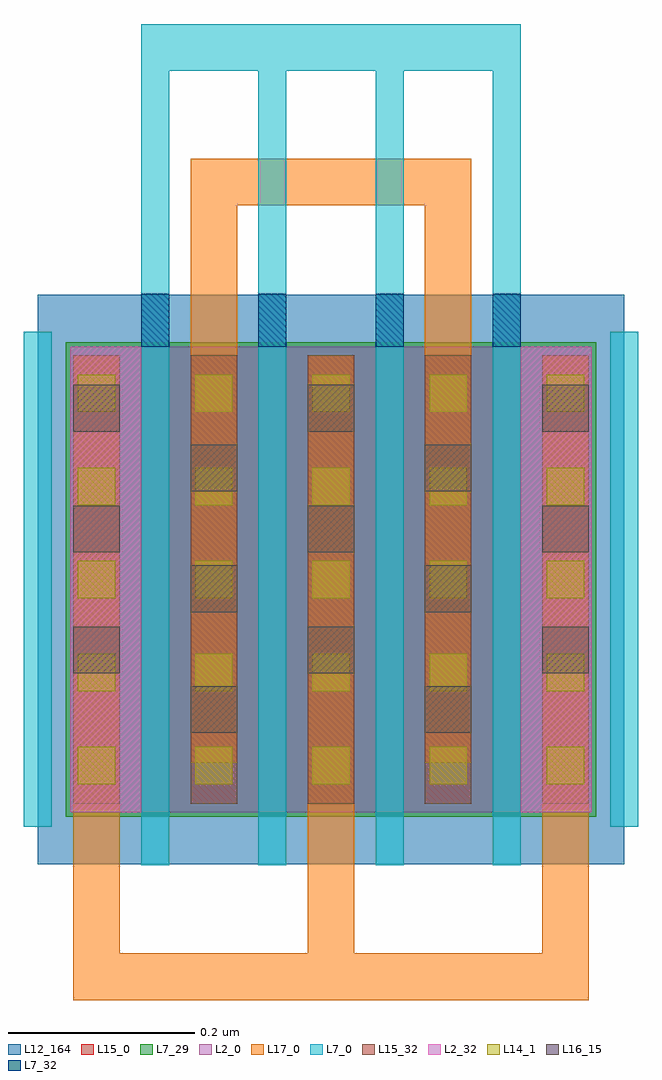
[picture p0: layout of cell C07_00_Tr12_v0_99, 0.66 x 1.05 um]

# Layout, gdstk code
import gdstk
lib = gdstk.Library(unit=1e-6, precision=1e-09)
def R(c, l, rs):  # rectangles x0, y0, x1, y1
    for r in rs: c.add(gdstk.rectangle(r[:2], r[2:], *l))
def A(c, l, x, y, w, h, nx, ny, dx, dy):  # array of equal rectangles
    R(c, l, [(x+i*dx, y+j*dy, x+i*dx+w, y+j*dy+h) for i in range(nx) for j in range(ny)])
L2_0 = (2, 0)
L2_32 = (2, 32)
L7_0 = (7, 0)
L7_29 = (7, 29)
L7_32 = (7, 32)
L12_164 = (12, 164)
L14_1 = (14, 1)
L15_0 = (15, 0)
L15_32 = (15, 32)
L16_15 = (16, 15)
L17_0 = (17, 0)

c07_00_tr12_v0_99_srf_nm = lib.new_cell('C07_00_Tr12_v0_99:SRF_NMOS:SRF_Source_ViaM1M2:SRF_ViaM1M2')
R(c07_00_tr12_v0_99_srf_nm, L15_0, [(0,-0.292,0.05,0.082)])
A(c07_00_tr12_v0_99_srf_nm, L16_15, 0, -0.26, 0.05, 0.05, 1, 3, 0, 0.13)
R(c07_00_tr12_v0_99_srf_nm, L17_0, [(0,-0.292,0.05,0.082)])

c_c07_00_tr12_v0_99_srf_nm = lib.new_cell('C07_00_Tr12_v0_99:SRF_NMOS:SRF_Source_ViaM1M2')
c_c07_00_tr12_v0_99_srf_nm.add(gdstk.Reference(c07_00_tr12_v0_99_srf_nm, (-0.025,0.105)))

c_c07_00_tr12_v0_99_srf_nm_ = lib.new_cell('C07_00_Tr12_v0_99:SRF_NMOS:SRF_Drain_ViaM1M2:SRF_ViaM1M2')
R(c_c07_00_tr12_v0_99_srf_nm_, L15_0, [(0,-0.292,0.05,0.082)])
A(c_c07_00_tr12_v0_99_srf_nm_, L16_15, 0, -0.26, 0.05, 0.05, 1, 3, 0, 0.13)
R(c_c07_00_tr12_v0_99_srf_nm_, L17_0, [(0,-0.292,0.05,0.082)])

c_c07_00_tr12_v0_99_srf_nm__ = lib.new_cell('C07_00_Tr12_v0_99:SRF_NMOS:SRF_Drain_ViaM1M2')
c_c07_00_tr12_v0_99_srf_nm__.add(gdstk.Reference(c_c07_00_tr12_v0_99_srf_nm_, (-0.025,0.105)))

c_c07_00_tr12_v0_99_srf_nm___ = lib.new_cell('C07_00_Tr12_v0_99:SRF_NMOS')
R(c_c07_00_tr12_v0_99_srf_nm___, L2_0, [(-0.076,0.057,0.484,0.557)])
R(c_c07_00_tr12_v0_99_srf_nm___, L2_32, [(-0.076,0.057,0,0.557), (0.408,0.057,0.484,0.557)])
A(c_c07_00_tr12_v0_99_srf_nm___, L7_0, 0, 0, 0.03, 0.614, 4, 1, 0.126, 0)
R(c_c07_00_tr12_v0_99_srf_nm___, L7_0, [(-0.126,0.041,-0.096,0.573), (0.504,0.041,0.534,0.573)])
R(c_c07_00_tr12_v0_99_srf_nm___, L7_29, [(-0.081,0.052,0.489,0.562)])
A(c_c07_00_tr12_v0_99_srf_nm___, L7_32, 0, 0.557, 0.03, 0.057, 4, 1, 0.126, 0)
R(c_c07_00_tr12_v0_99_srf_nm___, L12_164, [(-0.111,0.001,0.519,0.613)])
A(c_c07_00_tr12_v0_99_srf_nm___, L14_1, -0.068, 0.087, 0.04, 0.04, 5, 5, 0.126, 0.1)
R(c_c07_00_tr12_v0_99_srf_nm___, L15_0, [(-0.073,0.066,-0.023,0.548), (-0.073,0.066,-0.023,0.548), (0.053,0.066,0.103,0.548), (0.053,0.066,0.103,0.548), (0.179,0.066,0.229,0.548), (0.179,0.066,0.229,0.548), (0.305,0.066,0.355,0.548), (0.305,0.066,0.355,0.548), (0.431,0.066,0.481,0.548), (0.431,0.066,0.481,0.548)])
A(c_c07_00_tr12_v0_99_srf_nm___, L15_32, -0.073, 0.066, 0.05, 0.482, 5, 1, 0.126, 0)
c_c07_00_tr12_v0_99_srf_nm___.add(gdstk.Reference(c_c07_00_tr12_v0_99_srf_nm, (-0.048,0.361)))
c_c07_00_tr12_v0_99_srf_nm___.add(gdstk.Reference(c_c07_00_tr12_v0_99_srf_nm, (0.204,0.361)))
c_c07_00_tr12_v0_99_srf_nm___.add(gdstk.Reference(c_c07_00_tr12_v0_99_srf_nm, (0.456,0.361)))
c_c07_00_tr12_v0_99_srf_nm___.add(gdstk.Reference(c_c07_00_tr12_v0_99_srf_nm__, (0.078,0.297)))
c_c07_00_tr12_v0_99_srf_nm___.add(gdstk.Reference(c_c07_00_tr12_v0_99_srf_nm__, (0.33,0.297)))

c07_00_tr12_v0_99 = lib.new_cell('C07_00_Tr12_v0_99')
A(c07_00_tr12_v0_99, L7_0, 0, 0.614, 0.03, 0.24, 4, 1, 0.126, 0)
R(c07_00_tr12_v0_99, L7_0, [(0,0.854,0.408,0.904)])
A(c07_00_tr12_v0_99, L17_0, -0.073, -0.095, 0.05, 0.269, 3, 1, 0.252, 0)
R(c07_00_tr12_v0_99, L17_0, [(-0.073,-0.145,0.481,-0.095), (0.053,0.484,0.103,0.709), (0.305,0.484,0.355,0.709), (0.053,0.709,0.355,0.759)])
c07_00_tr12_v0_99.add(gdstk.Reference(c_c07_00_tr12_v0_99_srf_nm___, (0,0)))

lib.write_gds('C07_00_Tr12_v0_99.gds')
